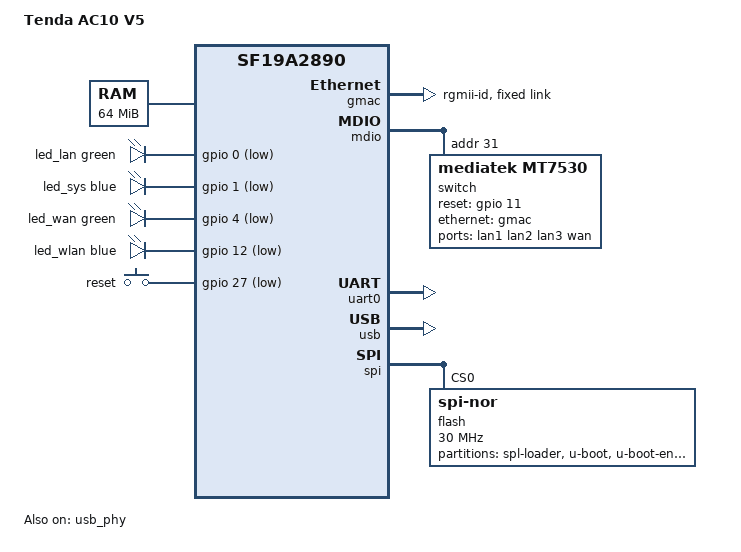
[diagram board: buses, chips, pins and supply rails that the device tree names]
/dts-v1/;
#include <dt-bindings/input/input.h>
#include <dt-bindings/leds/common.h>
#include "sf19a2890.dtsi"

/ {
	model = "Tenda AC10 V5";
	compatible = "tenda,ac10v5", "siflower,sf19a2890";

	aliases {
		led-boot = &led_sys;
		led-failsafe = &led_sys;
		led-running = &led_sys;
		led-upgrade = &led_sys;
	};

	chosen {
		stdout-path = "serial0:115200n8";
	};

	memory@0 {
		device_type = "memory";
		reg = <0x0 0x4000000>;
	};

	leds {
		compatible = "gpio-leds";

		led_lan: lan {
			function = LED_FUNCTION_LAN;
			color = <LED_COLOR_ID_GREEN>;
			gpios = <&gpio 0 GPIO_ACTIVE_LOW>;
		};

		led_sys: sys {
			/* gpio 1 = stock sys_led (system/status indicator, active-low).
			 * Aliased as led-boot/failsafe/running/upgrade above. */
			function = LED_FUNCTION_STATUS;
			color = <LED_COLOR_ID_BLUE>;
			gpios = <&gpio 1 GPIO_ACTIVE_LOW>;
		};

		led_wan: wan {
			function = LED_FUNCTION_WAN;
			color = <LED_COLOR_ID_GREEN>;
			gpios = <&gpio 4 GPIO_ACTIVE_LOW>;
		};

		led_wlan: wlan {
			/* gpio 12 = stock 2.4G_led (active-low). Registered as a plain
			 * gpio-led here; a WiFi driver may bind a trigger later. */
			function = LED_FUNCTION_WLAN;
			color = <LED_COLOR_ID_BLUE>;
			gpios = <&gpio 12 GPIO_ACTIVE_LOW>;
		};
	};

	keys {
		compatible = "gpio-keys";

		reset {
			label = "reset";
			gpios = <&gpio 27 GPIO_ACTIVE_LOW>;
			linux,code = <KEY_RESTART>;
		};
	};

};

&gmac {
	status = "okay";
	phy-mode = "rgmii-id";
	snps,ps-speed = <1000>;
	nvmem-cells = <&macaddr_factory_0>, <&rgmii_delay_factory_b2>;
	nvmem-cell-names = "mac-address", "rgmii-delay";
	/* DSA adds a 4-byte MTK tag, so the conduit must carry 1504-byte frames.
	 * DWMAC1000 does not report tx_fifo_size in its HW cap (only dwmac4
	 * does) and there is no tx-fifo-depth here, so stmmac_change_mtu sees
	 * txfifosz=0 and rejects MTU 1504 with -EINVAL -> the conduit stays
	 * capped at 1500 and every DSA slave ends up at 1496. Give it a real
	 * FIFO depth. */
	tx-fifo-depth = <4096>;
	/* The gmac is the DSA conduit for the MT7530 CPU port (port 5). Keep a
	 * fixed-link here so stmmac/phylink does not scan the MDIO bus for a
	 * PHY (the only responder on that bus is the switch at addr 31);
	 * without it stmmac_open fails with "no phy found" (-ENODEV). The CPU
	 * port's own fixed-link lives on port@5 below. */
	fixed-link {
		speed = <1000>;
		full-duplex;
		pause;
	};
};

&mdio {
	switch: switch@1f {
		compatible = "mediatek,mt7530";
		reg = <0x1f>;
		/* GPIO 11 = MT7530 nRST. The mainline mt7530 driver acquires the
		 * reset as GPIOD_OUT_LOW and runs set(0) -> set(1) before polling,
		 * i.e. it expects set(1) to DEASSERT (release) reset. That only
		 * holds when the gpio is ACTIVE_HIGH (set(1) = physical high =
		 * nRST high = run). With ACTIVE_LOW, set(1) drives nRST low and
		 * holds the chip in reset through the TRAP/CREV reads -> 0xffff.
		 * Use ACTIVE_HIGH. */
		reset-gpios = <&gpio 11 GPIO_ACTIVE_HIGH>;

		ports {
			#address-cells = <1>;
			#size-cells = <0>;

			port@0 { reg = <0>; status = "disabled"; };

			port@1 { reg = <1>; label = "lan1"; };
			port@2 { reg = <2>; label = "lan2"; };
			port@3 { reg = <3>; label = "lan3"; };

			port@4 { reg = <4>; label = "wan"; };

			port@5 {
				reg = <5>;
				ethernet = <&gmac>;
				phy-mode = "rgmii";
				fixed-link {
					speed = <1000>;
					full-duplex;
					pause;
				};
			};

			port@6 { reg = <6>; status = "disabled"; };
		};
	};
};

&uart0 {
	status = "okay";
};

&usb {
	status = "okay";
};

&usb_phy {
	status = "okay";
};

&spi {
	status = "okay";
	flash@0 {
		compatible = "jedec,spi-nor";
		reg = <0>;
		spi-max-frequency = <30000000>;

		partitions {
			compatible = "fixed-partitions";
			#address-cells = <1>;
			#size-cells = <1>;

			partition@0 {
				label = "spl-loader";
				reg = <0x00000000 0x00008000>; /* 32k */
				read-only;
			};

			partition@8000 {
				label = "u-boot";
				reg = <0x00008000 0x00067000>; /* 412k */
			};

			partition@6f000 {
				label = "u-boot-env";
				reg = <0x0006f000 0x00001000>; /* 4k */
			};

			factory: partition@70000 {
				label = "factory";
				reg = <0x00070000 0x00010000>; /* 64k */

				nvmem-layout {
					compatible = "fixed-layout";
					#address-cells = <1>;
					#size-cells = <1>;

					macaddr_factory_0: macaddr@0 {
						reg = <0x0 0x6>;
					};

					rgmii_delay_factory_b2: rgmii-delay@b2 {
						reg = <0xb2 0x4>;
					};
				};
			};

			firmware@80000 {
				compatible = "denx,uimage";
				label = "firmware";
				reg = <0x00080000 0x000750000>; /* 7.25MB */
			};

			partition@7d0000 {
				label = "CFM";
				reg = <0x007d0000 0x00010000>; /* 64k */
			};

			partition@7e0000 {
				label = "CFM_BACKUP";
				reg = <0x007e0000 0x00010000>; /* 64k */
			};

			partition@7f0000 {
				label = "CFG";
				reg = <0x007f0000 0x00010000>; /* 64k */
			};
		};
	};
};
